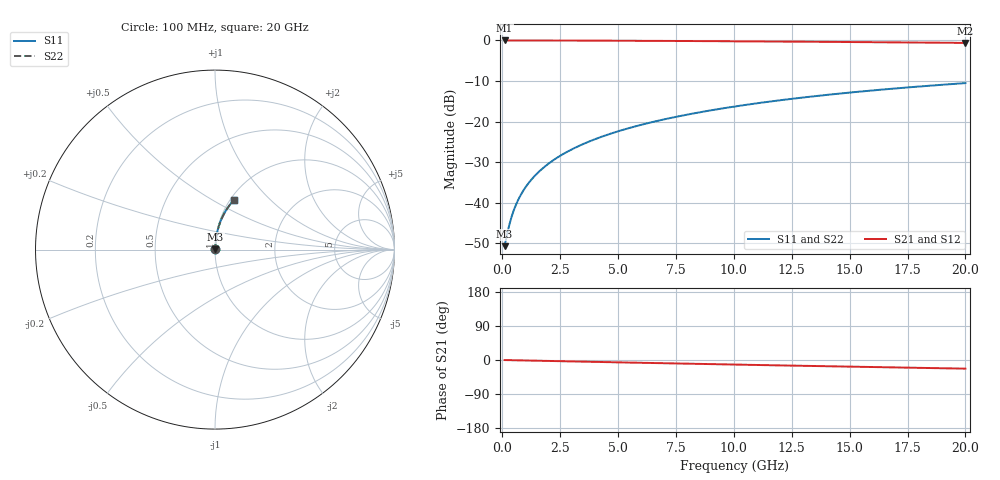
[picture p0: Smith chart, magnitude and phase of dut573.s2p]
! Touchstone file exported from HFSS 2024.1.0
!  File:  C:/UserFiles/LocalFiles/RDL_TSV_Batchsim/temp_RDL_bottom_573_1779690275.aedt
!  Generated:  02:27:07 PM May 25, 2026
!  Design:  RDL_bottom
!  Project:  temp_RDL_bottom_573_1779690275
!  Setup:  Setup1
!  Solution:  Sweep
! Variables:
!  dtsv = 10.80580581um
!  hbump = 3um
!  htsv = 64.72um
!  ldown = 235.92um
!  lrdl = 100um
!  p = 40
!  p1 = 53.99um
!  rhole = 1um
!  t = 450um
!  tdown = 2.78um
!  trdl = 3.915915916um
!  wdown = 13.23um
!  wrdl = 20um
# GHz S MA R 50.000000
! Terminal data exported
! Port[1] = RDL1_T1
! Port[2] = RDL1_T2
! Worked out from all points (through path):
!   200 points, 100 MHz to 20 GHz, reference 50 ohm
!   highest |S21| = -0.02 dB at 100 MHz (marker M1); lowest = -0.6 dB at 20 GHz (marker M2)
!   group delay of S21, straight-line fit = 3.16 ps
!   lowest |S11| = -50.7 dB at 100 MHz (marker M3), VSWR 1.01, Z = 50.2 + j0.157 ohm
!   |S11| at or under -10 dB: start of sweep to end of sweep
!   |S22| runs from -50.7 to -10.5 dB; largest |S21 - S12| = 3.7e-15
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0.1  0.002924 32.3  0.9975 -0.1  0.9975 -0.1  0.002924 32.3
! Gamma 0 0 0 0
! Port Impedance 50 0 50 0
0.2  0.003998 51.2  0.9975 -0.3  0.9975 -0.3  0.003998 51.2
0.3  0.005311 61.3  0.9974 -0.4  0.9974 -0.4  0.005311 61.3
0.4  0.006714 67.2  0.9974 -0.5  0.9974 -0.5  0.006714 67.2
0.5  0.008153 70.9  0.9973 -0.6  0.9973 -0.6  0.008153 70.9
0.6  0.009609 73.5  0.9972 -0.8  0.9972 -0.8  0.009609 73.5
0.8  0.01254 76.9  0.9971 -1.0  0.9971 -1.0  0.01254 76.9
1.1  0.01697 79.7  0.9969 -1.4  0.9969 -1.4  0.01697 79.7
1.5  0.02292 81.8  0.9965 -1.9  0.9965 -1.9  0.02292 81.8
1.8  0.0274 82.6  0.9962 -2.3  0.9962 -2.3  0.0274 82.6
2.1  0.0319 83.2  0.9959 -2.6  0.9959 -2.6  0.0319 83.2
2.7  0.04093 83.8  0.995 -3.4  0.995 -3.4  0.04093 83.8
3.5  0.05303 84.0  0.9937 -4.4  0.9937 -4.4  0.05303 84.0
4.2  0.06368 83.9  0.9923 -5.2  0.9923 -5.2  0.06369 83.9
5  0.07591 83.6  0.9904 -6.2  0.9904 -6.2  0.07592 83.6
5.9  0.08973 83.1  0.9881 -7.3  0.9881 -7.3  0.08973 83.1
6.8  0.1036 82.4  0.9855 -8.3  0.9855 -8.3  0.1036 82.4
8.3  0.1267 81.1  0.9807 -10.1  0.9807 -10.1  0.1267 81.1
10.1  0.1543 79.4  0.9744 -12.2  0.9744 -12.2  0.1543 79.4
13.4  0.2041 76.0  0.9613 -15.8  0.9613 -15.8  0.2041 76.0
16.7  0.252 72.4  0.9468 -19.4  0.9468 -19.4  0.252 72.4
20  0.2976 69.0  0.931 -22.8  0.931 -22.8  0.2976 69.0
